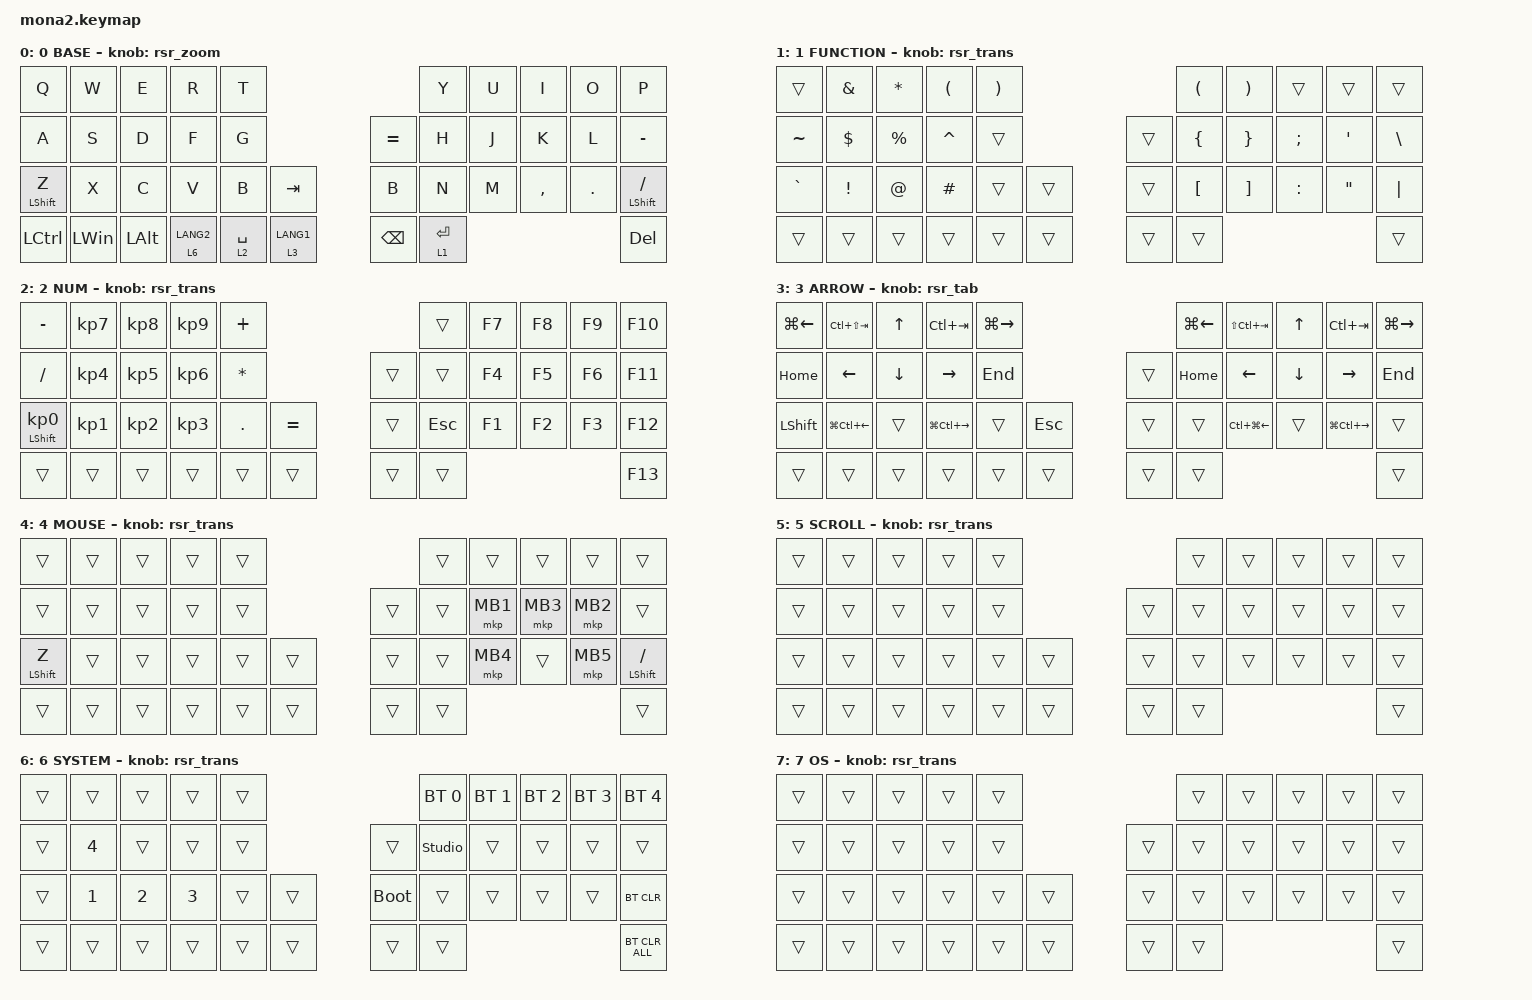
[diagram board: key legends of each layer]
// キーマップは roBa（hirunefu/zmk-config-roBa の config/roBa.keymap）に合わせている。違いは次のとおり。
// - moNa2 は 42 キーで、roBa の左手内側 2 段目のキー（既定レイヤーの ESC）の位置にノブがある。
//   ESC は ARROW レイヤー（LANG1 長押し）の内側の TAB キーに移し、NUM レイヤーの同じ位置の Ctrl+Alt+0 は外した。
//   そのため、右手と下の段のキー番号（コンボの key-positions など）は roBa より 1 つ小さい
// - ノブは既定レイヤーで画面の拡大・縮小（roBa は縦スクロール）。LANG1 長押し中のタブ切り替えは roBa と同じ
// - ZMK が v0.3 系なので、roBa の実行時マクロ（&rmacro）と OS 別の既定レイヤーは無い
#include <behaviors.dtsi>
#include <behaviors/runtime-sensor-rotate.dtsi>
#include <dt-bindings/zmk/bt.h>
#include <dt-bindings/zmk/keys.h>
#include <dt-bindings/zmk/pointing.h>

&mt {
    flavor = "balanced";
    quick-tap-ms = <0>;
};

// マウスのスクロール（&msc）を押した直後から一定の速さで送る（上流 moNa2 の設定のまま）
&msc {
    delay-ms = <0>;
    time-to-max-speed-ms = <0>;
    acceleration-exponent = <0>;
};

/ {
    combos {
        compatible = "zmk,combos";

        tab {
            bindings = <&kp TAB>;
            key-positions = <11 12>;
        };

        shift_tab {
            bindings = <&kp LS(TAB)>;
            key-positions = <12 13>;
        };

        muhennkann {
            bindings = <&to_layer_0 INT_MUHENKAN>;
            key-positions = <11 10>;
        };

        double_quotation {
            bindings = <&kp DOUBLE_QUOTES>;
            key-positions = <19 20>;
        };

        eq {
            bindings = <&kp EQUAL>;
            key-positions = <23 24>;
        };
    };

    macros {
        // 非推奨の label の代わりにノード名を大文字にして、behavior の内部名を "TO_LAYER_0" のまま保つ。
        // 内部名が変わると、DYA Studio などで本体に保存した割り当てが解決できなくなる。
        // roBa はロックされたレイヤーを残す &to_keep を使うが、moNa2 の ZMK には OS レイヤーが無いので標準の &to でよい
        to_layer_0: TO_LAYER_0 {
            compatible = "zmk,behavior-macro-one-param";
            #binding-cells = <1>;
            bindings = <&to 0 &macro_param_1to1 &kp MACRO_PLACEHOLDER>;
        };

        // ノブ用: Ctrl を押したままホイールを 1 段回す（Ctrl＋ホイールと同じ、画面の拡大・縮小）。
        // Ctrl は左 Ctrl にする。使っている PC では PowerToys の Keyboard Manager で右 Ctrl を Insert に
        // 置き換えているので、右 Ctrl だと「Insert＋ホイール」になってただのスクロールになる。
        // &msc は押してから 16 ms ごとに「値 × 16 / 1000」段を送る。押している時間（tap-ms）を 24 ms にして、
        // 16 ms の 1 回だけ送らせる（値 100 なら 1.6 → 1 段）。ホイールを送り終えてから Ctrl を離す
        zoom_in: ZOOM_IN {
            compatible = "zmk,behavior-macro";
            #binding-cells = <0>;
            wait-ms = <0>;
            tap-ms = <24>;
            bindings
                = <&macro_press &kp LCTRL>
                , <&macro_tap &msc MOVE_Y(100)>
                , <&macro_release &kp LCTRL>
                ;
        };

        zoom_out: ZOOM_OUT {
            compatible = "zmk,behavior-macro";
            #binding-cells = <0>;
            wait-ms = <0>;
            tap-ms = <24>;
            bindings
                = <&macro_press &kp LCTRL>
                , <&macro_tap &msc MOVE_Y(-100)>
                , <&macro_release &kp LCTRL>
                ;
        };
    };

    behaviors {
        // ノブ（左手、クリック感なし、1 周 24 段）: DYA Studio でレイヤーごとに割り当てを変えられる。
        // cw-binding / ccw-binding は初期値で、Studio で保存した割り当てがあればそちらが使われる。
        // tap-ms は 1 段で割り当てを押している時間で、DYA Studio で新しく割り当てるときの Tap Time の初期値にもなる。
        // 右回り（cw）は、roBa のホイールを上に回したときと同じ向き（上スクロール・拡大・前のタブ）にそろえている

        // 既定レイヤー用: 画面の拡大・縮小
        rsr_zoom: rsr_zoom {
            compatible = "zmk,behavior-runtime-sensor-rotate";
            #sensor-binding-cells = <0>;
            tap-ms = <16>;
            cw-binding = <&zoom_in>;
            ccw-binding = <&zoom_out>;
        };

        // ARROW レイヤー（LANG1 長押し）用: タブ切り替え（roBa と同じ）
        rsr_tab: rsr_tab {
            compatible = "zmk,behavior-runtime-sensor-rotate";
            #sensor-binding-cells = <0>;
            tap-ms = <16>;
            cw-binding = <&kp LC(PAGE_UP)>;
            ccw-binding = <&kp LC(PAGE_DOWN)>;
        };
    };

    keymap {
        compatible = "zmk,keymap";

        // display-name の先頭にレイヤー番号を入れる。Studio で &mo や &lt のレイヤーを選ぶときに、
        // どの番号がどのレイヤーかを見分けるため。レイヤーを並べ替えたら番号も直す
        default_layer {
            display-name = "0 BASE";
            bindings = <
&kp Q             &kp W         &kp E         &kp R        &kp T                                        &kp Y        &kp U  &kp I      &kp O    &kp P
&kp A             &kp S         &kp D         &kp F        &kp G                          &kp EQUAL      &kp H        &kp J  &kp K      &kp L    &kp MINUS
&mt LEFT_SHIFT Z  &kp X         &kp C         &kp V        &kp B        &kp TAB           &kp B          &kp N        &kp M  &kp COMMA  &kp DOT  &mt LEFT_SHIFT SLASH
&kp LCTRL         &kp LEFT_WIN  &kp LEFT_ALT  &lt 6 LANG2  &lt 2 SPACE  &lt 3 LANG1       &kp BACKSPACE  &lt 1 ENTER                             &kp DEL
            >;

            sensor-bindings = <&rsr_zoom>;
        };

        FUNCTION {
            display-name = "1 FUNCTION";
            bindings = <
&trans     &kp AMPERSAND    &kp ASTERISK  &kp LEFT_PARENTHESIS  &kp RIGHT_PARENTHESIS                      &kp LEFT_PARENTHESIS  &kp RIGHT_PARENTHESIS  &trans         &trans             &trans
&kp TILDE  &kp DOLLAR       &kp PERCENT   &kp CARET             &trans                         &trans      &kp LEFT_BRACE        &kp RIGHT_BRACE        &kp SEMICOLON  &kp SINGLE_QUOTE   &kp BACKSLASH
&kp GRAVE  &kp EXCLAMATION  &kp AT        &kp HASH              &trans                 &trans  &trans      &kp LEFT_BRACKET      &kp RIGHT_BRACKET      &kp COLON      &kp DOUBLE_QUOTES  &kp PIPE
&trans     &trans           &trans        &trans                &trans                 &trans  &trans      &trans                                                                         &trans
            >;

            sensor-bindings = <&rsr_trans>;
        };

        // roBa の左手内側 2 段目にあった Ctrl+Alt+0 は、moNa2 ではノブの位置なので外した
        NUM {
            display-name = "2 NUM";
            bindings = <
&kp MINUS                   &kp KP_NUMBER_7  &kp KP_NUMBER_8  &kp KP_NUMBER_9  &kp PLUS                                &trans      &kp F7  &kp F8  &kp F9  &kp F10
&kp SLASH                   &kp KP_NUMBER_4  &kp KP_NUMBER_5  &kp KP_NUMBER_6  &kp ASTERISK                    &trans  &trans      &kp F4  &kp F5  &kp F6  &kp F11
&mt LEFT_SHIFT KP_NUMBER_0  &kp KP_NUMBER_1  &kp KP_NUMBER_2  &kp KP_NUMBER_3  &kp PERIOD    &kp EQUAL         &trans  &kp ESCAPE  &kp F1  &kp F2  &kp F3  &kp F12
&trans                      &trans           &trans           &trans           &trans        &trans            &trans  &trans                              &kp F13
            >;

            sensor-bindings = <&rsr_trans>;
        };

        // 内側の TAB キーの位置に ESC を置く（roBa では既定レイヤーの ESC だったキーが、moNa2 ではノブになっているため）
        ARROW {
            display-name = "3 ARROW";
            bindings = <
&kp LG(LEFT_ARROW)  &kp LC(LS(TAB))         &kp UP_ARROW    &kp LC(TAB)              &kp LG(RIGHT_ARROW)                      &kp LG(LEFT_ARROW)  &kp LS(LC(TAB))         &kp UP_ARROW    &kp LC(TAB)              &kp LG(RIGHT_ARROW)
&kp HOME            &kp LEFT_ARROW          &kp DOWN_ARROW  &kp RIGHT_ARROW          &kp END                          &trans  &kp HOME            &kp LEFT_ARROW          &kp DOWN_ARROW  &kp RIGHT_ARROW          &kp END
&kp LEFT_SHIFT      &kp LG(LC(LEFT_ARROW))  &trans          &kp LG(LC(RIGHT_ARROW))  &trans               &kp ESCAPE  &trans  &trans              &kp LC(LG(LEFT_ARROW))  &trans          &kp LG(LC(RIGHT_ARROW))  &trans
&trans              &trans                  &trans          &trans                   &trans               &trans      &trans  &trans                                                                               &trans
            >;

            sensor-bindings = <&rsr_tab>;
        };

        // オートマウスで入るレイヤー。ここで &trans のキーを押すと、オートマウスはその場で解除される
        // （Ctrl・Win・Alt は例外で、解除されない）。&trans 以外を置いたキーでは解除されない。
        // J・K・L = 左・中・右クリック、M = 戻る、. = 進む。
        // Z と / は既定レイヤーと同じ割り当てを置き直している。長押しの Shift でオートマウスが
        // 解除されないようにして、Shift を押しながらクリックできるようにするため
        MOUSE {
            display-name = "4 MOUSE";
            bindings = <
&trans            &trans  &trans  &trans  &trans                      &trans  &trans    &trans    &trans    &trans
&trans            &trans  &trans  &trans  &trans              &trans  &trans  &mkp MB1  &mkp MB3  &mkp MB2  &trans
&mt LEFT_SHIFT Z  &trans  &trans  &trans  &trans  &trans      &trans  &trans  &mkp MB4  &trans    &mkp MB5  &mt LEFT_SHIFT SLASH
&trans            &trans  &trans  &trans  &trans  &trans      &trans  &trans                                &trans
            >;

            sensor-bindings = <&rsr_trans>;
        };

        // 使っていない（入るキーがない）。roBa とレイヤー番号をそろえるために残している
        SCROLL {
            display-name = "5 SCROLL";
            bindings = <
&trans  &trans  &trans  &trans  &trans                      &trans  &trans  &trans  &trans  &trans
&trans  &trans  &trans  &trans  &trans              &trans  &trans  &trans  &trans  &trans  &trans
&trans  &trans  &trans  &trans  &trans  &trans      &trans  &trans  &trans  &trans  &trans  &trans
&trans  &trans  &trans  &trans  &trans  &trans      &trans  &trans                          &trans
            >;

            sensor-bindings = <&rsr_trans>;
        };

        layer_6 {
            display-name = "6 SYSTEM";
            bindings = <
&trans  &trans        &trans        &trans        &trans                           &bt BT_SEL 0    &bt BT_SEL 1  &bt BT_SEL 2  &bt BT_SEL 3  &bt BT_SEL 4
&trans  &kp NUMBER_4  &trans        &trans        &trans              &trans       &studio_unlock  &trans        &trans        &trans        &trans
&trans  &kp NUMBER_1  &kp NUMBER_2  &kp NUMBER_3  &trans  &trans      &bootloader  &trans          &trans        &trans        &trans        &bt BT_CLR
&trans  &trans        &trans        &trans        &trans  &trans      &trans       &trans                                                    &bt BT_CLR_ALL
            >;

            sensor-bindings = <&rsr_trans>;
        };

        // roBa では接続先の OS に応じて自動で重ねる差分レイヤー。moNa2 の ZMK にはその機能が無いので、
        // 入るキーも無く使っていない。roBa とレイヤー番号をそろえるために残している
        os_layer {
            display-name = "7 OS";
            bindings = <
&trans  &trans  &trans  &trans  &trans                      &trans  &trans  &trans  &trans  &trans
&trans  &trans  &trans  &trans  &trans              &trans  &trans  &trans  &trans  &trans  &trans
&trans  &trans  &trans  &trans  &trans  &trans      &trans  &trans  &trans  &trans  &trans  &trans
&trans  &trans  &trans  &trans  &trans  &trans      &trans  &trans                          &trans
            >;

            sensor-bindings = <&rsr_trans>;
        };
    };
};
